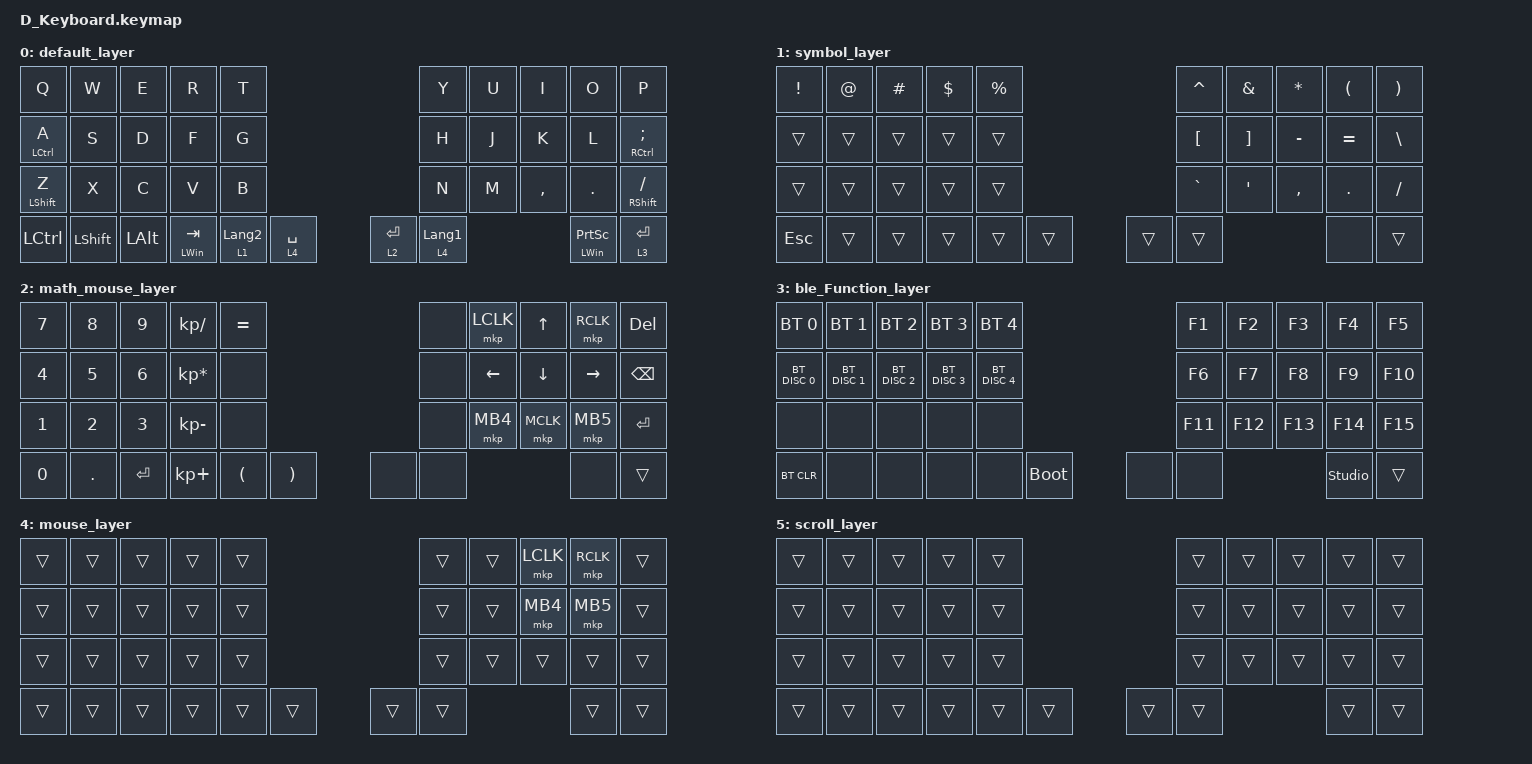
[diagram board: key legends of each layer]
/ {
    aliases {
        led-red = &led0;
        led-green = &led1;
        led-blue = &led2;
    };

    leds {
        compatible = "gpio-leds";
        led0: led_0 {
            gpios = <&gpio0 26 GPIO_ACTIVE_LOW>;
        };
        led1: led_1 {
            gpios = <&gpio0 30 GPIO_ACTIVE_LOW>;
        };
        led2: led_2 {
            gpios = <&gpio0 6 GPIO_ACTIVE_LOW>;
        };
    };
};

#include <input/processors.dtsi>
#include <dt-bindings/zmk/input_transform.h>
#include <zephyr/dt-bindings/input/input-event-codes.h>
#include <behaviors.dtsi>
#include <dt-bindings/zmk/bt.h>
#include <dt-bindings/zmk/keys.h>
#include <dt-bindings/zmk/pointing.h>
#define MOUSE 4

&mt {
    flavor = "balanced";
    quick-tap-ms = <0>;
};

&mkp_input_listener {
    input-processors = <
        &zip_temp_layer 4 250
    >;
};

/ {
    combos {
        compatible = "zmk,combos";

        double_quotation {
            bindings = <&kp DOUBLE_QUOTES>;
            key-positions = <22 21>;
        };

        single_quotation {
            bindings = <&kp SINGLE_QUOTE>;
            key-positions = <21 20>;
        };

        scroll {
            bindings = <&mo 5>;
            key-positions = <8 9>;
        };

        mouseMID {
            bindings = <&mkp MCLK>;
            key-positions = <7 8>;
        };
    };

    macros {
        to_layer_0: to_layer_0 {
            compatible = "zmk,behavior-macro-one-param";
            #binding-cells = <1>;
            bindings = <&to 0 &macro_param_1to1 &kp MACRO_PLACEHOLDER>;
            label = "TO_LAYER_0";
        };

        exit_AML: exit_AML {
            compatible = "zmk,behavior-macro";
            wait-ms = <0>;
            tap-ms = <0>;
            #binding-cells = <0>;
            bindings = <&tog_off MOUSE>;
            label = "exit_AML";
        };

        kp_exit_AML: kp_exit_AML {
            compatible = "zmk,behavior-macro-one-param";
            wait-ms = <0>;
            tap-ms = <0>;
            #binding-cells = <1>;
            bindings = <&macro_param_1to1 &kp MACRO_PLACEHOLDER &exit_AML>;
            label = "KP_exit_AML";
        };
    };

    behaviors {
        lt_to_layer_0: lt_to_layer_0 {
            compatible = "zmk,behavior-hold-tap";
            label = "LAYER_TAP_TO_0";
            bindings = <&mo>, <&to_layer_0>;

            #binding-cells = <2>;
            tapping-term-ms = <200>;
        };

        longtap_and_mouse: longtap_and_mouse {
            compatible = "zmk,behavior-hold-tap";
            label = "LONGTAP_AND_MOUSE";
            bindings = <&mkp>, <&kp>;

            #binding-cells = <2>;
            hold-trigger-key-positions = <8>;
            tapping-term-ms = <200>;
            quick-tap-ms = <150>;
            flavor = "balanced";
        };

        tog_off: toggle_layer_off {
            compatible = "zmk,behavior-toggle-layer";
            #binding-cells = <1>;
            display-name = "Toggle Layer Off";
            toggle-mode = "off";
        };

        mt_exit_AML_on_tap: mt_exit_AML_on_tap {
            compatible = "zmk,behavior-hold-tap";
            label = "MT_exit_AML_ON_TAP";
            bindings = <&kp>, <&kp_exit_AML>;

            #binding-cells = <2>;
            tapping-term-ms = <200>;
            flavor = "balanced";
            quick-tap-ms = <200>;
        };
    };

    keymap {
        compatible = "zmk,keymap";

        default_layer {
            bindings = <
&kp Q                               &kp W           &kp E         &kp R             &kp T                                         &kp Y             &kp U  &kp I      &kp O                     &kp P
&mt_exit_AML_on_tap LEFT_CONTROL A  &kp S           &kp D         &kp F             &kp G                                         &kp H             &kp J  &kp K      &kp L                     &mt RIGHT_CONTROL SEMICOLON
&mt_exit_AML_on_tap LEFT_SHIFT Z    &kp X           &kp C         &kp V             &kp B                                         &kp N             &kp M  &kp COMMA  &kp PERIOD                &mt RIGHT_SHIFT SLASH
&kp LCTRL                           &kp LEFT_SHIFT  &kp LEFT_ALT  &mt LEFT_WIN TAB  &lt 1 LANGUAGE_2  &lt 4 SPACE    &lt 2 ENTER  &lt 4 LANGUAGE_1                    &mt LEFT_WIN PRINTSCREEN  &lt 3 ENTER
            >;
        };

        symbol_layer {
            bindings = <
&kp EXCLAMATION  &kp AT_SIGN  &kp HASH  &kp DOLLAR  &kp PERCENT                    &kp CARET         &kp AMPERSAND      &kp ASTERISK  &kp LEFT_PARENTHESIS  &kp RIGHT_PARENTHESIS
&trans           &trans       &trans    &trans      &trans                         &kp LEFT_BRACKET  &kp RIGHT_BRACKET  &kp MINUS     &kp EQUAL             &kp BACKSLASH
&trans           &trans       &trans    &trans      &trans                         &kp GRAVE         &kp SQT            &kp COMMA     &kp DOT               &kp SLASH
&kp ESCAPE       &trans       &trans    &trans      &trans       &trans    &trans  &trans                                             &none                 &trans
            >;
        };

        math_mouse_layer {
            bindings = <
&kp N7        &kp N8        &kp N9        &kp KP_DIVIDE    &kp EQUAL                                             &none  &mkp LCLK       &kp UP_ARROW    &mkp RCLK        &kp DELETE
&kp NUMBER_4  &kp N5        &kp NUMBER_6  &kp KP_MULTIPLY  &none                                                 &none  &kp LEFT_ARROW  &kp DOWN_ARROW  &kp RIGHT_ARROW  &kp BACKSPACE
&kp NUMBER_1  &kp NUMBER_2  &kp NUMBER_3  &kp KP_MINUS     &none                                                 &none  &mkp MB4        &mkp MCLK       &mkp MB5         &kp ENTER
&kp N0        &kp PERIOD    &kp ENTER     &kp KP_PLUS      &kp LEFT_PARENTHESIS  &kp RIGHT_PARENTHESIS    &none  &none                                  &none            &trans
            >;
        };

        ble_Function_layer {
            bindings = <
&bt BT_SEL 0   &bt BT_SEL 1   &bt BT_SEL 2   &bt BT_SEL 3   &bt BT_SEL 4                         &kp F1   &kp F2   &kp F3   &kp F4          &kp F5
&bt BT_DISC 0  &bt BT_DISC 1  &bt BT_DISC 2  &bt BT_DISC 3  &bt BT_DISC 4                        &kp F6   &kp F7   &kp F8   &kp F9          &kp F10
&none          &none          &none          &none          &none                                &kp F11  &kp F12  &kp F13  &kp F14         &kp F15
&bt BT_CLR     &none          &none          &none          &none          &bootloader    &none  &none                      &studio_unlock  &trans
            >;
        };

        mouse_layer {
            bindings = <
&trans  &trans  &trans  &trans  &trans                    &trans  &trans  &mkp LCLK  &mkp RCLK  &trans
&trans  &trans  &trans  &trans  &trans                    &trans  &trans  &mkp MB4   &mkp MB5   &trans
&trans  &trans  &trans  &trans  &trans                    &trans  &trans  &trans     &trans     &trans
&trans  &trans  &trans  &trans  &trans  &trans    &trans  &trans                     &trans     &trans
            >;
        };

        scroll_layer {
            bindings = <
&trans  &trans  &trans  &trans  &trans                    &trans  &trans  &trans  &trans  &trans
&trans  &trans  &trans  &trans  &trans                    &trans  &trans  &trans  &trans  &trans
&trans  &trans  &trans  &trans  &trans                    &trans  &trans  &trans  &trans  &trans
&trans  &trans  &trans  &trans  &trans  &trans    &trans  &trans                  &trans  &trans
            >;
        };
    };
};
